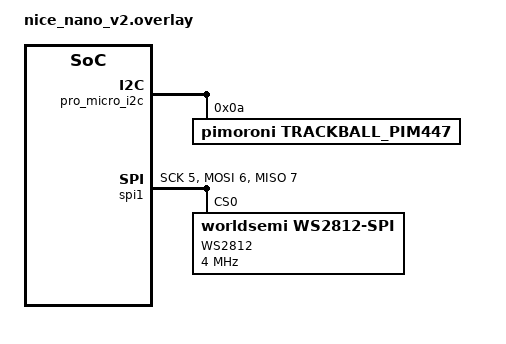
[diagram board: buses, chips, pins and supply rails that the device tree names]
/* Copyright (c) 2022 The ZMK Contributors
 * SPDX-License-Identifier: MIT
 */

#include <dt-bindings/led/led.h>

&pro_micro_i2c {
	status = "okay";

	trackball_pim447@a {
		compatible = "pimoroni,trackball_pim447";
		reg = <0xa>;
		label = "TRACKBALL_PIM447";
		move-factor = <2>;      // Increase pointer velocity (default: 1)
		//invert-move-x;          // Invert pointer X axis (left is right, and vice versa)
		//invert-move-y;          // Invert pointer Y axis (up is down, and vice versa)
		//button = <1>;           // Send right-click when pressing the ball (default: 0, ie. left-click)
		//swap-axes;              // Swap X and Y axes (horizontal is vertical, and vice versa)
		//scroll-divisor = <1>;   // Increase wheel velocity (default: 2)
		//invert-scroll-x;        // Invert wheel X axis (left is right, and vice versa)
		//invert-scroll-y;        // Invert wheel Y axis (up is down, and vice versa)
		//mode = <PIM447_SCROLL>; // Act as mouse wheels at startup (default: PIM447_MOVE for a pointer)
	};
};

&spi1 {
	compatible = "nordic,nrf-spim";
	status = "okay";
	mosi-pin = <6>;
	// Unused pins, needed for SPI def, but not used by ws2812 driver.
	sck-pin = <5>;
	miso-pin = <7>;

	led_strip: ws2812@0 {
		compatible = "worldsemi,ws2812-spi";
		label = "WS2812";

		/* SPI */
		reg = <0>; /* ignored, but necessary for SPI bindings */
		spi-max-frequency = <4000000>;

		/* WS2812 */
		chain-length = <5>; /* arbitrary; change at will */
		spi-one-frame = <0x70>;
		spi-zero-frame = <0x40>;
                color-mapping = <LED_COLOR_ID_GREEN
                                 LED_COLOR_ID_RED
                                 LED_COLOR_ID_BLUE>;
        };
};

/ {
	chosen {
		zmk,underglow = &led_strip;
	};
};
